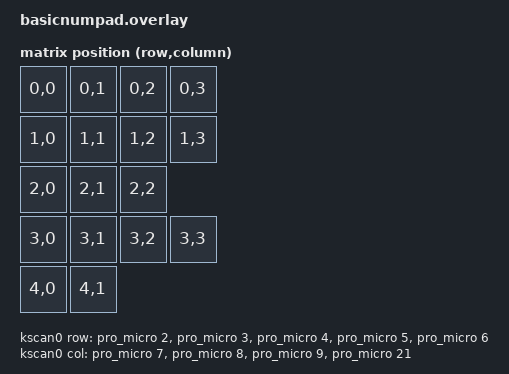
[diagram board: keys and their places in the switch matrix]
#include <dt-bindings/zmk/matrix_transform.h>

{
    chosen {
        zmk,kscan = &kscan0;
        zmk,matrix-transform = &default_transform;
    };

    default_transform: keymap_transform0 {
        compatible = "zmk,matrix-transform";
        columns = <4>;
        rows = <5>;
        map = <
        //   Key 1 | Key 2 | Key 3
            RC(0,0) RC(0,1) RC(0,2) RC(0,3)
        //   Key 4 | Key 5 | Key 6
            RC(1,0) RC(1,1) RC(1,2) RC(1,3)
        //   Key 7 | Key 8 | Key 9
            RC(2,0) RC(2,1) RC(2,2)
        //   Key 10| Key 11| Key 12
            RC(3,0) RC(3,1) RC(3,2) RC(3,3)
        //   Key 13| Key 14| Key 15
            RC(4,0) RC(4,1)

            
        >;
    };

    kscan0: kscan0 {
        compatible = "zmk,kscan-gpio-matrix";
        diode-direction = "col2row";
        wakeup-source;

        col-gpios
            = <&pro_micro 7 GPIO_ACTIVE_HIGH>
            , <&pro_micro 8 GPIO_ACTIVE_HIGH>
            , <&pro_micro 9 GPIO_ACTIVE_HIGH>
            , <&pro_micro 21 GPIO_ACTIVE_HIGH>
            ;

        row-gpios
            = <&pro_micro 2 (GPIO_ACTIVE_HIGH | GPIO_PULL_DOWN)>
            , <&pro_micro 3 (GPIO_ACTIVE_HIGH | GPIO_PULL_DOWN)>
            , <&pro_micro 4 (GPIO_ACTIVE_HIGH | GPIO_PULL_DOWN)>
            , <&pro_micro 5 (GPIO_ACTIVE_HIGH | GPIO_PULL_DOWN)>
            , <&pro_micro 6 (GPIO_ACTIVE_HIGH | GPIO_PULL_DOWN)>
            ;
    };
}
